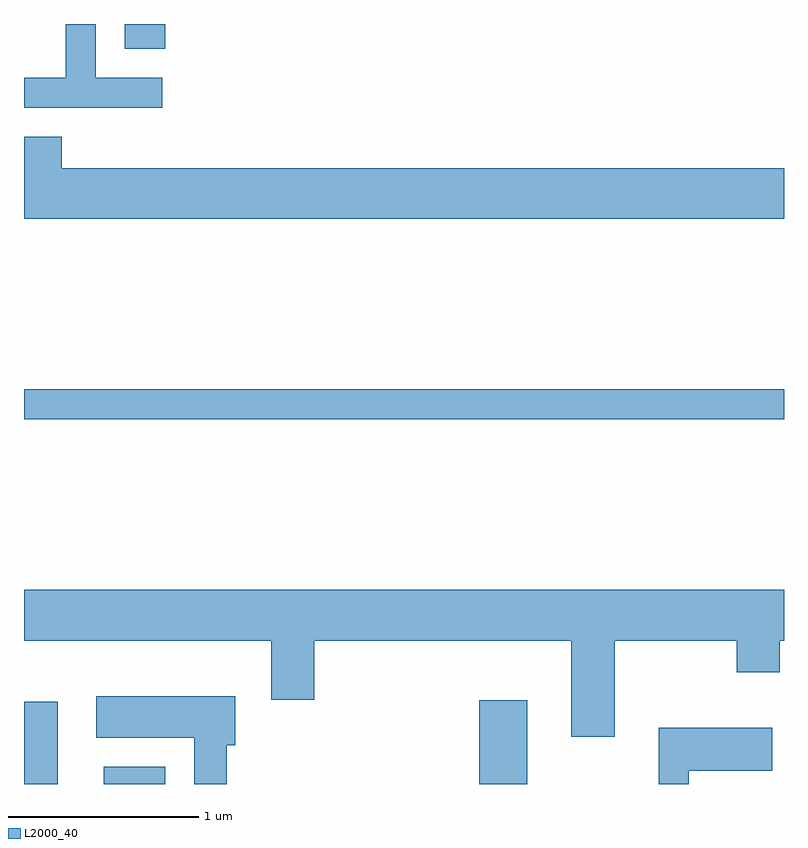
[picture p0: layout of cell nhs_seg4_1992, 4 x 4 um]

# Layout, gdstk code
import gdstk
lib = gdstk.Library(unit=1e-6, precision=1e-09)
def R(c, l, rs):  # rectangles x0, y0, x1, y1
    for r in rs: c.add(gdstk.rectangle(r[:2], r[2:], *l))
def P(c, l, *ps):  # polygons
    for p in ps: c.add(gdstk.Polygon(p, *l))
L2000_40 = (2000, 40)

nhs_seg4_1992 = lib.new_cell('nhs_seg4_1992')
R(nhs_seg4_1992, L2000_40, [(243.611,1293.982,243.789,1294.414), (244.031,1293.982,244.354,1294.074), (246.006,1293.982,246.259,1294.424), (243.611,1295.901,247.611,1296.059), (244.141,1297.851,244.354,1297.982)])
P(nhs_seg4_1992, L2000_40, [(244.338,1297.699),(243.989,1297.699),(243.989,1297.982),(243.831,1297.982),(243.831,1297.699),(243.611,1297.699),(243.611,1297.541),(244.338,1297.541)],
  [(247.611,1297.224),(243.809,1297.224),(243.809,1297.389),(243.611,1297.389),(243.611,1296.956),(247.611,1296.956)],
  [(243.611,1294.736),(244.911,1294.736),(244.911,1294.426),(245.139,1294.426),(245.139,1294.736),(246.491,1294.736),(246.491,1294.231),(246.719,1294.231),(246.719,1294.736),(247.361,1294.736),(247.361,1294.571),(247.589,1294.571),(247.589,1294.736),(247.611,1294.736),(247.611,1295.004),(243.611,1295.004)],
  [(244.679,1294.186),(244.724,1294.186),(244.724,1294.444),(243.991,1294.444),(243.991,1294.226),(244.506,1294.226),(244.506,1293.982),(244.679,1293.982)],
  [(247.109,1294.051),(247.549,1294.051),(247.549,1294.279),(246.951,1294.279),(246.951,1293.982),(247.109,1293.982)])

lib.write_gds('nhs_seg4_1992.gds')
